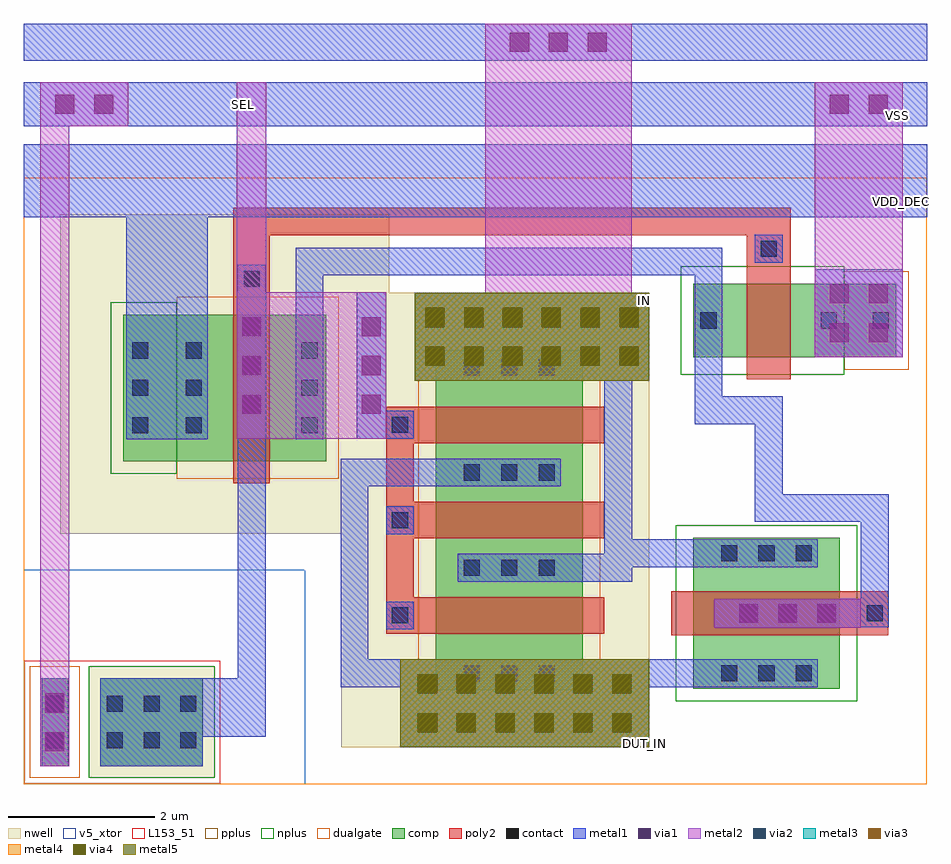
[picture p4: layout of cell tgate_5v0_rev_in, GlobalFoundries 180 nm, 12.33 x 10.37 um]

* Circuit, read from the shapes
.subckt tgate_5v0_rev_in DUT_IN IN SEL VDD_DEC VSS
XM1 IN n1 DUT_IN VSS nfet_05v0 w=2u l=0.6u
XM2 VSS SEL n1 VSS nfet_05v0 w=1u l=0.6u
XM3 n1 SEL VDD_DEC VDD_DEC pfet_05v0 w=2u l=0.5u
XM4 IN SEL DUT_IN VDD_DEC pfet_05v0 w=2u l=0.5u m=3
.ends

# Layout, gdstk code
from math import pi, radians
import gdstk
lib = gdstk.Library(unit=1e-6, precision=1e-09)
def R(c, l, rs):  # rectangles x0, y0, x1, y1
    for r in rs: c.add(gdstk.rectangle(r[:2], r[2:], *l))
def A(c, l, x, y, w, h, nx, ny, dx, dy):  # array of equal rectangles
    R(c, l, [(x+i*dx, y+j*dy, x+i*dx+w, y+j*dy+h) for i in range(nx) for j in range(ny)])
nwell = (21, 0)
comp = (22, 0)
poly2 = (30, 0)
pplus = (31, 0)
nplus = (32, 0)
contact = (33, 0)
metal1 = (34, 0)
via1 = (35, 0)
metal2 = (36, 0)
via2 = (38, 0)
via3 = (40, 0)
via4 = (41, 0)
metal3 = (42, 0)
metal4 = (46, 0)
dualgate = (55, 0)
metal5 = (81, 0)
v5_xtor = (112, 1)
L153_51 = (153, 51)

pfet_6 = lib.new_cell('pfet$6')
R(pfet_6, nwell, [(-1.24,-0.91,4.96,3.29)])
R(pfet_6, comp, [(-0.46,0,4.18,2)])
A(pfet_6, poly2, 0.31, -0.3, 0.5, 2.98, 3, 1, 1.3, 0)
R(pfet_6, pplus, [(-0.63,-0.24,4.35,2.24)])
A(pfet_6, contact, -0.34, 0.38, 0.22, 0.22, 1, 3, 0, 0.51)
A(pfet_6, contact, 1.1, 0.38, 0.22, 0.22, 1, 3, 0, 0.51)
A(pfet_6, contact, 2.4, 0.38, 0.22, 0.22, 1, 3, 0, 0.51)
A(pfet_6, contact, 3.84, 0.38, 0.22, 0.22, 1, 3, 0, 0.51)
A(pfet_6, contact, 0.45, 2.38, 0.22, 0.22, 3, 1, 1.3, 0)
A(pfet_6, metal1, 0.37, 2.3, 0.38, 0.38, 3, 1, 1.3, 0)
R(pfet_6, metal1, [(-0.42,0.3,-0.04,1.7), (1.02,0.3,1.4,1.7), (2.32,0.3,2.7,1.7), (3.76,0.3,4.14,1.7)])
R(pfet_6, dualgate, [(-1.74,-1.41,5.46,3.79)])
R(pfet_6, v5_xtor, [(-1.74,-1.41,5.46,3.79)])

nfet_3_2 = lib.new_cell('nfet$3$2')
R(nfet_3_2, comp, [(-0.42,0,1.64,2)])
R(nfet_3_2, poly2, [(0.31,-0.66,0.91,2.3)])
R(nfet_3_2, nplus, [(-0.59,-0.24,1.81,2.24)])
A(nfet_3_2, contact, -0.32, 0.38, 0.22, 0.22, 1, 3, 0, 0.51)
A(nfet_3_2, contact, 1.32, 0.38, 0.22, 0.22, 1, 3, 0, 0.51)
R(nfet_3_2, contact, [(0.5,-0.59,0.72,-0.37)])
R(nfet_3_2, metal1, [(0.42,-0.67,0.8,-0.29), (-0.4,0.3,-0.02,1.7), (1.24,0.3,1.62,1.7)])
R(nfet_3_2, dualgate, [(-0.84,-1.08,2.06,2.71)])
R(nfet_3_2, v5_xtor, [(-0.84,-1.08,2.06,2.71)])

nfet_7 = lib.new_cell('nfet$7')
R(nfet_7, comp, [(-0.42,0,2.35,1)])
R(nfet_7, poly2, [(0.31,-0.3,0.91,1.66)])
R(nfet_7, pplus, [(1.64,-0.17,2.52,1.17)])
R(nfet_7, nplus, [(-0.59,-0.24,1.64,1.24)])
R(nfet_7, contact, [(-0.32,0.39,-0.1,0.61), (1.32,0.39,1.54,0.61), (2.03,0.39,2.25,0.61), (0.5,1.37,0.72,1.59)])
R(nfet_7, metal1, [(-0.4,0.31,-0.02,0.69), (1.24,0.31,1.62,0.69), (1.95,0.31,2.33,0.69), (0.42,1.29,0.8,1.67)])
R(nfet_7, dualgate, [(-0.84,-0.71,2.77,2.08)])
R(nfet_7, v5_xtor, [(-0.84,-0.71,2.77,2.08)])

nfet_5_1 = lib.new_cell('nfet$5$1')
R(nfet_5_1, dualgate, [(-0.84,-0.71,2.77,1.5)])
R(nfet_5_1, v5_xtor, [(-0.84,-0.71,2.77,1.5)])

via_dev_11 = lib.new_cell('via_dev$11')
R(via_dev_11, metal1, [(0,0,3.2,1.2)])
A(via_dev_11, via1, 0.145, 0.205, 0.26, 0.26, 6, 2, 0.53, 0.53)
R(via_dev_11, metal2, [(0,0,3.2,1.2)])
A(via_dev_11, via2, 0.145, 0.205, 0.26, 0.26, 6, 2, 0.53, 0.53)
A(via_dev_11, via3, 0.145, 0.205, 0.26, 0.26, 6, 2, 0.53, 0.53)
A(via_dev_11, via4, 0.145, 0.205, 0.26, 0.26, 6, 2, 0.53, 0.53)
R(via_dev_11, metal3, [(0,0,3.2,1.2)])
R(via_dev_11, metal4, [(0,0,3.2,1.2)])
R(via_dev_11, metal5, [(0,0,3.2,1.2)])

via_dev_19 = lib.new_cell('via_dev$19')
R(via_dev_19, metal1, [(0,0,3.4,1.2)])
A(via_dev_19, via1, 0.245, 0.205, 0.26, 0.26, 6, 2, 0.53, 0.53)
R(via_dev_19, metal2, [(0,0,3.4,1.2)])
A(via_dev_19, via2, 0.245, 0.205, 0.26, 0.26, 6, 2, 0.53, 0.53)
A(via_dev_19, via3, 0.245, 0.205, 0.26, 0.26, 6, 2, 0.53, 0.53)
A(via_dev_19, via4, 0.245, 0.205, 0.26, 0.26, 6, 2, 0.53, 0.53)
R(via_dev_19, metal3, [(0,0,3.4,1.2)])
R(via_dev_19, metal4, [(0,0,3.4,1.2)])
R(via_dev_19, metal5, [(0,0,3.4,1.2)])

pfet_3_3 = lib.new_cell('pfet$3$3')
R(pfet_3_3, nwell, [(-1.32,-1.37,3.17,2.99)])
R(pfet_3_3, comp, [(-0.46,0,2.31,2)])
R(pfet_3_3, poly2, [(0.31,-0.68,0.81,2.3)])
R(pfet_3_3, pplus, [(-0.63,-0.24,1.58,2.24)])
R(pfet_3_3, nplus, [(1.58,-0.17,2.48,2.17)])
A(pfet_3_3, contact, -0.34, 0.38, 0.22, 0.22, 1, 3, 0, 0.51)
A(pfet_3_3, contact, 1.24, 0.38, 0.22, 0.22, 1, 3, 0, 0.51)
A(pfet_3_3, contact, 1.97, 0.38, 0.22, 0.22, 1, 3, 0, 0.51)
R(pfet_3_3, contact, [(0.45,-0.6,0.67,-0.38)])
R(pfet_3_3, metal1, [(0.37,-0.68,0.75,-0.3), (-0.42,0.3,-0.04,1.7), (1.16,0.3,1.54,1.7), (1.89,0.3,2.27,1.7)])
R(pfet_3_3, dualgate, [(-1.82,-1.87,3.67,3.49)])
R(pfet_3_3, v5_xtor, [(-1.82,-1.87,3.67,3.49)])

via_dev_4_3 = lib.new_cell('via_dev$4$3')
R(via_dev_4_3, metal1, [(0,0,0.4,2)])
A(via_dev_4_3, via1, 0.07, 0.34, 0.26, 0.26, 1, 3, 0, 0.53)
R(via_dev_4_3, metal2, [(0,0,0.4,2)])

via_dev_7_3 = lib.new_cell('via_dev$7$3')
R(via_dev_7_3, metal1, [(0,0,2,0.4)])
A(via_dev_7_3, via1, 0.34, 0.07, 0.26, 0.26, 3, 1, 0.53, 0)
R(via_dev_7_3, metal2, [(0,0,2,0.4)])

via_dev_9 = lib.new_cell('via_dev$9')

via_dev_12_4 = lib.new_cell('via_dev$12$4')
R(via_dev_12_4, metal1, [(0,0,0.4,1.2)])
R(via_dev_12_4, via1, [(0.07,0.205,0.33,0.465), (0.07,0.735,0.33,0.995)])
R(via_dev_12_4, metal2, [(0,0,0.4,1.2)])

via_dev_5_4 = lib.new_cell('via_dev$5$4')
R(via_dev_5_4, metal1, [(0,0,1.2,0.6)])
R(via_dev_5_4, via1, [(0.205,0.17,0.465,0.43), (0.735,0.17,0.995,0.43)])
R(via_dev_5_4, metal2, [(0,0,1.2,0.6)])

via_dev_8_2 = lib.new_cell('via_dev$8$2')
R(via_dev_8_2, metal1, [(0,0,1.2,1.2)])
R(via_dev_8_2, via1, [(0.205,0.205,0.465,0.465), (0.735,0.205,0.995,0.465), (0.205,0.735,0.465,0.995), (0.735,0.735,0.995,0.995)])
R(via_dev_8_2, metal2, [(0,0,1.2,1.2)])

diode_nw2ps_2 = lib.new_cell('diode_nw2ps$2')
R(diode_nw2ps_2, nwell, [(0.64,-0.16,2.36,1.36)])
R(diode_nw2ps_2, comp, [(0,0,0.36,1.2), (0.8,0,2.2,1.2)])
R(diode_nw2ps_2, pplus, [(-0.16,-0.16,0.52,1.36)])
R(diode_nw2ps_2, nplus, [(0.64,-0.16,2.36,1.36)])
A(diode_nw2ps_2, contact, 0.89, 0.24, 0.22, 0.22, 3, 2, 0.5, 0.5)
R(diode_nw2ps_2, contact, [(0.07,0.24,0.29,0.46), (0.07,0.74,0.29,0.96)])
R(diode_nw2ps_2, metal1, [(0,0,0.36,1.2), (0.8,0,2.2,1.2)])
R(diode_nw2ps_2, dualgate, [(-0.24,-0.24,2.44,1.44)])
R(diode_nw2ps_2, L153_51, [(-0.24,-0.24,2.44,1.44)])

via_dev_25 = lib.new_cell('via_dev$25')
R(via_dev_25, metal1, [(0,0,2,0.5)])
A(via_dev_25, via1, 0.34, 0.12, 0.26, 0.26, 3, 1, 0.53, 0)
R(via_dev_25, metal2, [(0,0,2,0.5)])

tgate_5v0_rev_in = lib.new_cell('tgate_5v0_rev_in')
R(tgate_5v0_rev_in, poly2, [(1.265,0.465,1.645,3.565), (-0.44,5.5,-0.32,5.9)])
R(tgate_5v0_rev_in, metal1, [(-2.28,3.12,-1.17,6.45)])
R(tgate_5v0_rev_in, metal2, [(2.615,4.72,4.615,8.785)])
R(tgate_5v0_rev_in, dualgate, [(-3.68,-1.585,8.645,6.69)])
R(tgate_5v0_rev_in, v5_xtor, [(0.155,-1.585,8.645,1.33), (-3.68,1.33,8.645,6.69)])
tgate_5v0_rev_in.add(gdstk.FlexPath([(8.65,8.535),(-3.68,8.535)], 0.5, ends="flush", simple_path=True, layer=34, datatype=0))  # metal1
tgate_5v0_rev_in.add(gdstk.FlexPath([(-2.44,-0.54),(-0.38,-0.54)], 0.8, ends="flush", simple_path=True, layer=34, datatype=0))  # metal1
tgate_5v0_rev_in.add(gdstk.FlexPath([(-3.68,7.69),(8.65,7.69)], 0.6, ends="flush", simple_path=True, layer=34, datatype=0))  # metal1
tgate_5v0_rev_in.add(gdstk.FlexPath([(-3.68,6.645),(8.65,6.645)], 1, ends="flush", simple_path=True, layer=34, datatype=0))  # metal1
tgate_5v0_rev_in.add(gdstk.FlexPath([(3.545,4.105),(4.435,4.105),(4.435,1.365),(3.4,1.365)], 0.38, ends="flush", simple_path=True, layer=34, datatype=0))  # metal1
tgate_5v0_rev_in.add(gdstk.FlexPath([(2.545,2.665),(0.835,2.665),(0.835,-0.075),(2.47,-0.075)], 0.38, ends="flush", simple_path=True, layer=34, datatype=0))  # metal1
tgate_5v0_rev_in.add(gdstk.FlexPath([(3.345,-0.075),(6.44,-0.075)], 0.38, ends="flush", simple_path=True, layer=34, datatype=0))  # metal1
tgate_5v0_rev_in.add(gdstk.FlexPath([(5.85,1.565),(4.37,1.565)], 0.38, ends="flush", simple_path=True, layer=34, datatype=0))  # metal1
tgate_5v0_rev_in.add(gdstk.FlexPath([(0.22,4.16),(0.22,5.545),(5.665,5.545),(5.665,4.55)], 0.38, ends="flush", simple_path=True, layer=34, datatype=0))  # metal1
tgate_5v0_rev_in.add(gdstk.FlexPath([(-0.57,5.42),(-0.57,-0.625)], 0.38, ends="flush", simple_path=True, layer=34, datatype=0))  # metal1
tgate_5v0_rev_in.add(gdstk.FlexPath([(6.485,3.44),(6.485,2.18),(7.935,2.18),(7.935,0.555)], 0.38, ends="flush", simple_path=True, layer=34, datatype=0))  # metal1
tgate_5v0_rev_in.add(gdstk.FlexPath([(5.665,4.69),(5.665,3.515),(6.675,3.515)], 0.38, ends="flush", simple_path=True, layer=34, datatype=0))  # metal1
tgate_5v0_rev_in.add(gdstk.FlexPath([(-0.57,4.13),(-0.57,7.99)], 0.4, ends="flush", simple_path=True, layer=36, datatype=0))  # metal2
tgate_5v0_rev_in.add(gdstk.FlexPath([(-3.255,-0.625),(-3.255,7.99)], 0.4, ends="flush", simple_path=True, layer=36, datatype=0))  # metal2
tgate_5v0_rev_in.add(gdstk.FlexPath([(-0.595,4.125),(1.185,4.125)], 2, ends="flush", simple_path=True, layer=36, datatype=0))  # metal2
tgate_5v0_rev_in.add(gdstk.FlexPath([(7.715,4.245),(7.715,7.99)], 1.2, ends="flush", simple_path=True, layer=36, datatype=0))  # metal2
tgate_5v0_rev_in.add(gdstk.FlexPath([(-0.63,5.23),(-0.63,6.09),(6.785,6.09)], 0.38, ends="flush", simple_path=True, layer=30, datatype=0))  # poly2
tgate_5v0_rev_in.add(gdstk.Reference(pfet_6, (3.945,0.155), rotation=pi/2))
tgate_5v0_rev_in.add(gdstk.Reference(nfet_3_2, (7.455,0.135), rotation=pi/2))
tgate_5v0_rev_in.add(gdstk.Reference(nfet_7, (5.875,4.24)))
tgate_5v0_rev_in.add(gdstk.Reference(nfet_5_1, (5.875,2.615)))
tgate_5v0_rev_in.add(gdstk.Reference(via_dev_11, (1.655,3.915)))
tgate_5v0_rev_in.add(gdstk.Reference(via_dev_19, (1.455,-1.085)))
tgate_5v0_rev_in.add(gdstk.Reference(pfet_3_3, (-0.01,4.82), rotation=pi))
tgate_5v0_rev_in.add(gdstk.Reference(via_dev_4_3, (0.865,3.125)))
tgate_5v0_rev_in.add(gdstk.Reference(via_dev_4_3, (-0.77,3.125)))
tgate_5v0_rev_in.add(gdstk.Reference(via_dev_7_3, (5.745,0.545)))
tgate_5v0_rev_in.add(gdstk.Reference(via_dev_9, (4.855,2.63)))
tgate_5v0_rev_in.add(gdstk.Reference(via_dev_12_4, (-3.455,-1.345)))
tgate_5v0_rev_in.add(gdstk.Reference(via_dev_5_4, (-3.455,7.39)))
tgate_5v0_rev_in.add(gdstk.Reference(via_dev_5_4, (7.115,7.39)))
tgate_5v0_rev_in.add(gdstk.Reference(via_dev_8_2, (7.115,4.24)))
tgate_5v0_rev_in.add(gdstk.Reference(diode_nw2ps_2, (-3.435,-1.34)))
tgate_5v0_rev_in.add(gdstk.Reference(via_dev_25, (2.615,8.285)))
tgate_5v0_rev_in.add(gdstk.Label('VSS', (8.245,7.535), layer=34, texttype=10))
tgate_5v0_rev_in.add(gdstk.Label('VDD_DEC', (8.3,6.365), layer=34, texttype=10))
tgate_5v0_rev_in.add(gdstk.Label('SEL', (-0.685,7.685), layer=36, texttype=10))
tgate_5v0_rev_in.add(gdstk.Label('IN', (4.795,5.015), layer=36, texttype=10))
tgate_5v0_rev_in.add(gdstk.Label('DUT_IN', (4.79,-1.03), layer=36, texttype=10))

lib.write_gds('tgate_5v0_rev_in.gds')
